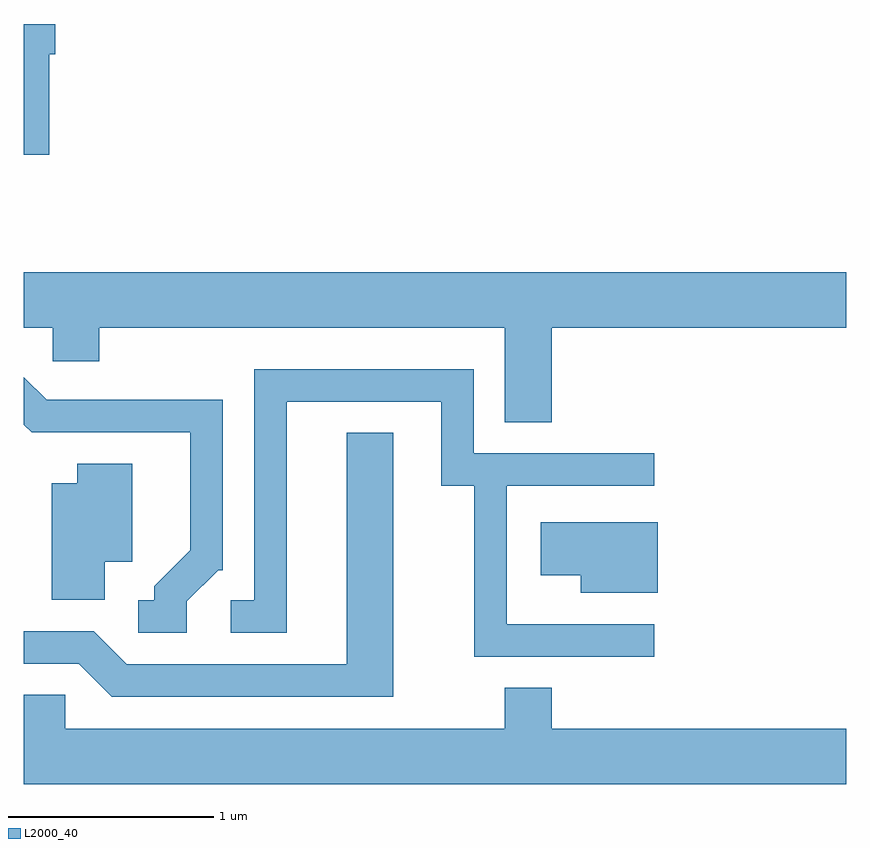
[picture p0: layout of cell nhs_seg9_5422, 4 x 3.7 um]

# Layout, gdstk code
import gdstk
lib = gdstk.Library(unit=1e-6, precision=1e-09)
def P(c, l, *ps):  # polygons
    for p in ps: c.add(gdstk.Polygon(p, *l))
L2000_40 = (2000, 40)

nhs_seg9_5422 = lib.new_cell('nhs_seg9_5422')
P(nhs_seg9_5422, L2000_40, [(345.734,1964.286),(345.764,1964.286),(345.764,1964.432),(345.611,1964.432),(345.611,1963.796),(345.734,1963.796)],
  [(348.179,1962.956),(349.611,1962.956),(349.611,1963.224),(345.611,1963.224),(345.611,1962.956),(345.751,1962.956),(345.751,1962.791),(345.979,1962.791),(345.979,1962.956),(347.951,1962.956),(347.951,1962.496),(348.179,1962.496)],
  [(348.678,1961.514),(347.959,1961.514),(347.959,1962.186),(348.678,1962.186),(348.678,1962.344),(347.799,1962.344),(347.799,1962.754),(346.731,1962.754),(346.731,1961.629),(346.618,1961.629),(346.618,1961.471),(346.889,1961.471),(346.889,1962.596),(347.641,1962.596),(347.641,1962.186),(347.801,1962.186),(347.801,1961.356),(348.678,1961.356)],
  [(346.404,1961.624),(346.557,1961.776),(346.579,1961.776),(346.579,1962.604),(345.722,1962.604),(345.611,1962.715),(345.611,1962.484),(345.649,1962.446),(346.421,1962.446),(346.421,1961.872),(346.246,1961.697),(346.246,1961.629),(346.168,1961.629),(346.168,1961.471),(346.404,1961.471)],
  [(347.409,1962.444),(347.181,1962.444),(347.181,1961.319),(346.112,1961.319),(345.952,1961.479),(345.611,1961.479),(345.611,1961.321),(345.879,1961.321),(346.039,1961.161),(347.409,1961.161)],
  [(346.004,1961.816),(346.139,1961.816),(346.139,1962.294),(345.871,1962.294),(345.871,1962.199),(345.746,1962.199),(345.746,1961.631),(346.004,1961.631)],
  [(348.694,1962.009),(348.126,1962.009),(348.126,1961.751),(348.321,1961.751),(348.321,1961.666),(348.694,1961.666)],
  [(349.611,1961.004),(348.179,1961.004),(348.179,1961.204),(347.951,1961.204),(347.951,1961.004),(345.814,1961.004),(345.814,1961.169),(345.611,1961.169),(345.611,1960.736),(349.611,1960.736)])

lib.write_gds('nhs_seg9_5422.gds')
